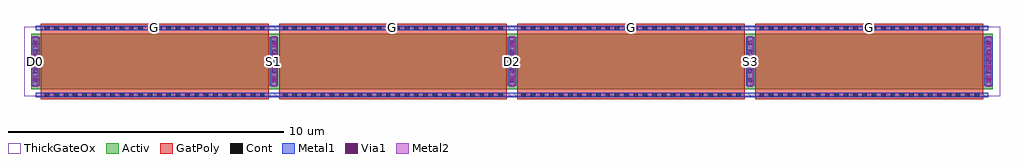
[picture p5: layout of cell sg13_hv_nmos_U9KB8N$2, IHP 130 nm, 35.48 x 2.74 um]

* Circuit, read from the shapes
.subckt sg13_hv_nmos_U9KB8N$2 D0 D2 G S1 S3
XM1 S1 G D0 VSUBS sg13_hv_nmos w=2u l=8.28u
XM2 D2 G S1 VSUBS sg13_hv_nmos w=2u l=8.28u
XM3 S3 G D2 VSUBS sg13_hv_nmos w=2u l=8.28u
XM4 n1 G S3 VSUBS sg13_hv_nmos w=2u l=8.28u
.ends

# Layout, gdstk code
import gdstk
lib = gdstk.Library(unit=1e-6, precision=1e-09)
def R(c, l, rs):  # rectangles x0, y0, x1, y1
    for r in rs: c.add(gdstk.rectangle(r[:2], r[2:], *l))
def A(c, l, x, y, w, h, nx, ny, dx, dy):  # array of equal rectangles
    R(c, l, [(x+i*dx, y+j*dy, x+i*dx+w, y+j*dy+h) for i in range(nx) for j in range(ny)])
Activ = (1, 0)
GatPoly = (5, 0)
Cont = (6, 0)
Metal1 = (8, 0)
Metal2 = (10, 0)
Via1 = (19, 0)
ThickGateOx = (44, 0)

sg13_hv_nmos_u9kb8n_2 = lib.new_cell('sg13_hv_nmos_U9KB8N$2')
R(sg13_hv_nmos_u9kb8n_2, Activ, [(-17.47,-1,17.47,1)])
A(sg13_hv_nmos_u9kb8n_2, GatPoly, -17.13, -1.37, 8.28, 2.74, 4, 1, 8.66, 0)
A(sg13_hv_nmos_u9kb8n_2, Cont, -16.98, -1.3, 0.16, 0.16, 24, 2, 0.34, 2.44)
A(sg13_hv_nmos_u9kb8n_2, Cont, -8.32, -1.3, 0.16, 0.16, 24, 2, 0.34, 2.44)
A(sg13_hv_nmos_u9kb8n_2, Cont, 0.34, -1.3, 0.16, 0.16, 24, 2, 0.34, 2.44)
A(sg13_hv_nmos_u9kb8n_2, Cont, 9, -1.3, 0.16, 0.16, 24, 2, 0.34, 2.44)
A(sg13_hv_nmos_u9kb8n_2, Cont, -17.4, -0.76, 0.16, 0.16, 5, 5, 8.66, 0.34)
A(sg13_hv_nmos_u9kb8n_2, Metal1, -17.47, -0.885, 0.3, 1.77, 5, 1, 8.66, 0)
R(sg13_hv_nmos_u9kb8n_2, Metal1, [(-17.32,-1.3,17.32,-1.14), (-17.32,1.14,17.32,1.3)])
A(sg13_hv_nmos_u9kb8n_2, Metal2, -17.42, -0.925, 0.2, 1.85, 5, 1, 8.66, 0)
A(sg13_hv_nmos_u9kb8n_2, Via1, -17.415, -0.71, 0.19, 0.19, 3, 4, 8.66, 0.41)
A(sg13_hv_nmos_u9kb8n_2, Via1, 17.225, -0.71, 0.19, 0.19, 1, 4, 0, 0.41)
R(sg13_hv_nmos_u9kb8n_2, ThickGateOx, [(-17.74,-1.27,17.74,1.27)])
sg13_hv_nmos_u9kb8n_2.add(gdstk.Label('D0', (-17.32,0), layer=8, texttype=25))
sg13_hv_nmos_u9kb8n_2.add(gdstk.Label('G', (12.99,1.22), layer=8, texttype=25))
sg13_hv_nmos_u9kb8n_2.add(gdstk.Label('G', (4.33,1.22), layer=8, texttype=25))
sg13_hv_nmos_u9kb8n_2.add(gdstk.Label('G', (-4.33,1.22), layer=8, texttype=25))
sg13_hv_nmos_u9kb8n_2.add(gdstk.Label('G', (-12.99,1.22), layer=8, texttype=25))
sg13_hv_nmos_u9kb8n_2.add(gdstk.Label('S1', (-8.66,0), layer=8, texttype=25))
sg13_hv_nmos_u9kb8n_2.add(gdstk.Label('D2', (0,0), layer=8, texttype=25))
sg13_hv_nmos_u9kb8n_2.add(gdstk.Label('S3', (8.66,0), layer=8, texttype=25))

lib.write_gds('sg13_hv_nmos_U9KB8N_2.gds')
